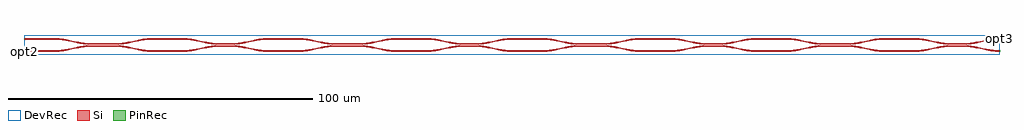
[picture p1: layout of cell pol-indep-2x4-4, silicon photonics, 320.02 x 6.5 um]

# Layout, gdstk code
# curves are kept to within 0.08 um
import gdstk
lib = gdstk.Library(unit=1e-6, precision=1e-09)
def R(c, l, rs):  # rectangles x0, y0, x1, y1
    for r in rs: c.add(gdstk.rectangle(r[:2], r[2:], *l))
def P(c, l, *ps):  # polygons
    for p in ps: c.add(gdstk.Polygon(p, *l))
Si = (1, 0)
PinRec = (1, 10)
DevRec = (68, 0)

layer_0_0_phase_sec_0_1 = lib.new_cell('layer-0_0_phase_sec_0$1')
P(layer_0_0_phase_sec_0_1, Si, [(0,-0.225),(0,0.225),(10,0.225),(10,-0.225)])

layer_0_0_phase_sec_1_1 = lib.new_cell('layer-0_0_phase_sec_1$1')
P(layer_0_0_phase_sec_1_1, Si, [(0,-0.225),(0,0.225),(10,0.225),(10,-0.225)])

dc_arm_up_8_1 = lib.new_cell('dc_arm_up_8$1')
R(dc_arm_up_8_1, Si, [(12,0.1,20,0.55)])
P(dc_arm_up_8_1, Si, [(12,0.1),(10.861,0.137),(9.344,0.292),(2.966,1.532),(1.481,1.712),(0,1.775),(0,2.225),(1.139,2.188),(2.656,2.033),(9.034,0.793),(10.519,0.613),(12,0.55)],
  [(20,0.1),(20,0.55),(21.481,0.613),(22.966,0.793),(29.344,2.033),(30.861,2.188),(32,2.225),(32,1.775),(30.519,1.712),(29.034,1.532),(22.656,0.292),(21.139,0.137)])

dc_arm_down_8_1 = lib.new_cell('dc_arm_down_8$1')
R(dc_arm_down_8_1, Si, [(12,-0.55,20,-0.1)])
P(dc_arm_down_8_1, Si, [(0,-2.225),(0,-1.775),(1.481,-1.712),(2.966,-1.532),(9.344,-0.292),(10.861,-0.137),(12,-0.1),(12,-0.55),(10.519,-0.613),(9.034,-0.793),(2.656,-2.033),(1.139,-2.188)],
  [(32,-2.225),(30.861,-2.188),(29.344,-2.033),(22.966,-0.793),(21.481,-0.613),(20,-0.55),(20,-0.1),(21.139,-0.137),(22.656,-0.292),(29.034,-1.532),(30.519,-1.712),(32,-1.775)])

dc_8_1 = lib.new_cell('dc_8$1')
dc_8_1.add(gdstk.Reference(dc_arm_up_8_1, (0,0)))
dc_8_1.add(gdstk.Reference(dc_arm_down_8_1, (0,0)))

layer_0_0_phase_sec_2_1 = lib.new_cell('layer-0_0_phase_sec_2$1')
P(layer_0_0_phase_sec_2_1, Si, [(0,-0.225),(0,0.225),(10,0.225),(10,-0.225)])

layer_0_0_phase_sec_3_1 = lib.new_cell('layer-0_0_phase_sec_3$1')
P(layer_0_0_phase_sec_3_1, Si, [(6.485,-0.234),(0,-0.225),(0,0.225),(10,0.225),(10,-0.225)])

dc_arm_up_4_1 = lib.new_cell('dc_arm_up_4$1')
R(dc_arm_up_4_1, Si, [(12,0.1,16,0.55)])
P(dc_arm_up_4_1, Si, [(12,0.1),(10.861,0.137),(9.344,0.292),(2.966,1.532),(1.481,1.712),(0,1.775),(0,2.225),(1.139,2.188),(2.656,2.033),(9.034,0.793),(10.519,0.613),(12,0.55)],
  [(16,0.1),(16,0.55),(17.481,0.613),(18.966,0.793),(25.344,2.033),(26.861,2.188),(28,2.225),(28,1.775),(26.519,1.712),(25.034,1.532),(18.656,0.292),(17.139,0.137)])

dc_arm_down_4_1 = lib.new_cell('dc_arm_down_4$1')
R(dc_arm_down_4_1, Si, [(12,-0.55,16,-0.1)])
P(dc_arm_down_4_1, Si, [(0,-2.225),(0,-1.775),(1.481,-1.712),(2.966,-1.532),(9.344,-0.292),(10.861,-0.137),(12,-0.1),(12,-0.55),(10.519,-0.613),(9.034,-0.793),(2.656,-2.033),(1.139,-2.188)],
  [(28,-2.225),(26.861,-2.188),(25.344,-2.033),(18.966,-0.793),(17.481,-0.613),(16,-0.55),(16,-0.1),(17.139,-0.137),(18.656,-0.292),(25.034,-1.532),(26.519,-1.712),(28,-1.775)])

dc_4_1 = lib.new_cell('dc_4$1')
dc_4_1.add(gdstk.Reference(dc_arm_up_4_1, (0,0)))
dc_4_1.add(gdstk.Reference(dc_arm_down_4_1, (0,0)))

layer_1_0_phase_sec_0_1 = lib.new_cell('layer-1_0_phase_sec_0$1')
P(layer_1_0_phase_sec_0_1, Si, [(3.227,-0.232),(0,-0.225),(0,0.225),(10,0.225),(10,-0.225)])

layer_1_0_phase_sec_1_1 = lib.new_cell('layer-1_0_phase_sec_1$1')
P(layer_1_0_phase_sec_1_1, Si, [(4.832,-0.231),(0,-0.225),(0,0.225),(10,0.225),(10,-0.225)])

layer_1_0_phase_sec_2_1 = lib.new_cell('layer-1_0_phase_sec_2$1')
P(layer_1_0_phase_sec_2_1, Si, [(0,-0.225),(0,0.225),(10,0.225),(10,-0.225)])

layer_1_0_phase_sec_3_1 = lib.new_cell('layer-1_0_phase_sec_3$1')
P(layer_1_0_phase_sec_3_1, Si, [(4.859,-0.254),(0,-0.225),(0,0.225),(10,0.225),(10,-0.225)])

layer_2_0_phase_sec_0_1 = lib.new_cell('layer-2_0_phase_sec_0$1')
P(layer_2_0_phase_sec_0_1, Si, [(4.862,-0.241),(0,-0.225),(0,0.225),(10,0.225),(10,-0.225)])

layer_2_0_phase_sec_1_1 = lib.new_cell('layer-2_0_phase_sec_1$1')
P(layer_2_0_phase_sec_1_1, Si, [(0,-0.225),(0,0.225),(10,0.225),(10,-0.225)])

layer_2_0_phase_sec_2_1 = lib.new_cell('layer-2_0_phase_sec_2$1')
P(layer_2_0_phase_sec_2_1, Si, [(0,-0.225),(0,0.225),(10,0.225),(10,-0.225)])

layer_2_0_phase_sec_3_1 = lib.new_cell('layer-2_0_phase_sec_3$1')
P(layer_2_0_phase_sec_3_1, Si, [(4.846,-0.233),(0,-0.225),(0,0.225),(10,0.225),(10,-0.225)])

layer_3_0_phase_sec_0_1 = lib.new_cell('layer-3_0_phase_sec_0$1')
P(layer_3_0_phase_sec_0_1, Si, [(4.869,-0.246),(0,-0.225),(0,0.225),(10,0.225),(10,-0.225)])

layer_3_0_phase_sec_1_1 = lib.new_cell('layer-3_0_phase_sec_1$1')
P(layer_3_0_phase_sec_1_1, Si, [(0,-0.225),(0,0.225),(10,0.225),(10,-0.225)])

layer_3_0_phase_sec_2_1 = lib.new_cell('layer-3_0_phase_sec_2$1')
P(layer_3_0_phase_sec_2_1, Si, [(0,-0.225),(0,0.225),(10,0.225),(10,-0.225)])

layer_3_0_phase_sec_3_1 = lib.new_cell('layer-3_0_phase_sec_3$1')
P(layer_3_0_phase_sec_3_1, Si, [(3.244,-0.24),(0,-0.225),(0,0.225),(10,0.225),(10,-0.225)])

pol_indep_2x4_4 = lib.new_cell('pol-indep-2x4-4')
R(pol_indep_2x4_4, DevRec, [(0,-1,320,5.5)])
pol_indep_2x4_4.add(gdstk.FlexPath([(0.01,0.254),(-0.01,0.254)], 0.45, ends="flush", simple_path=True, layer=1, datatype=10))  # PinRec
pol_indep_2x4_4.add(gdstk.FlexPath([(0.01,4.254),(-0.01,4.254)], 0.45, ends="flush", simple_path=True, layer=1, datatype=10))  # PinRec
pol_indep_2x4_4.add(gdstk.FlexPath([(319.99,4.254),(320.01,4.254)], 0.45, ends="flush", simple_path=True, layer=1, datatype=10))  # PinRec
pol_indep_2x4_4.add(gdstk.FlexPath([(319.99,0.254),(320.01,0.254)], 0.45, ends="flush", simple_path=True, layer=1, datatype=10))  # PinRec
pol_indep_2x4_4.add(gdstk.Reference(layer_0_0_phase_sec_0_1, (0,4.254)))
pol_indep_2x4_4.add(gdstk.Reference(layer_0_0_phase_sec_1_1, (0,0.254)))
pol_indep_2x4_4.add(gdstk.Reference(dc_8_1, (10,2.254)))
pol_indep_2x4_4.add(gdstk.Reference(layer_0_0_phase_sec_2_1, (42,4.254)))
pol_indep_2x4_4.add(gdstk.Reference(layer_0_0_phase_sec_3_1, (42,0.254)))
pol_indep_2x4_4.add(gdstk.Reference(dc_4_1, (52,2.254)))
pol_indep_2x4_4.add(gdstk.Reference(layer_1_0_phase_sec_0_1, (80,4.254)))
pol_indep_2x4_4.add(gdstk.Reference(layer_1_0_phase_sec_1_1, (80,0.254)))
pol_indep_2x4_4.add(gdstk.Reference(dc_8_1, (90,2.254)))
pol_indep_2x4_4.add(gdstk.Reference(layer_1_0_phase_sec_2_1, (122,4.254)))
pol_indep_2x4_4.add(gdstk.Reference(layer_1_0_phase_sec_3_1, (122,0.254)))
pol_indep_2x4_4.add(gdstk.Reference(dc_4_1, (132,2.254)))
pol_indep_2x4_4.add(gdstk.Reference(layer_2_0_phase_sec_0_1, (160,4.254)))
pol_indep_2x4_4.add(gdstk.Reference(layer_2_0_phase_sec_1_1, (160,0.254)))
pol_indep_2x4_4.add(gdstk.Reference(dc_8_1, (170,2.254)))
pol_indep_2x4_4.add(gdstk.Reference(layer_2_0_phase_sec_2_1, (202,4.254)))
pol_indep_2x4_4.add(gdstk.Reference(layer_2_0_phase_sec_3_1, (202,0.254)))
pol_indep_2x4_4.add(gdstk.Reference(dc_4_1, (212,2.254)))
pol_indep_2x4_4.add(gdstk.Reference(layer_3_0_phase_sec_0_1, (240,4.254)))
pol_indep_2x4_4.add(gdstk.Reference(layer_3_0_phase_sec_1_1, (240,0.254)))
pol_indep_2x4_4.add(gdstk.Reference(dc_8_1, (250,2.254)))
pol_indep_2x4_4.add(gdstk.Reference(layer_3_0_phase_sec_2_1, (282,4.254)))
pol_indep_2x4_4.add(gdstk.Reference(layer_3_0_phase_sec_3_1, (282,0.254)))
pol_indep_2x4_4.add(gdstk.Reference(dc_4_1, (292,2.254)))
pol_indep_2x4_4.add(gdstk.Label('opt2', (0,0.254), layer=1, texttype=10))
pol_indep_2x4_4.add(gdstk.Label('opt1', (0,4.254), layer=1, texttype=10))
pol_indep_2x4_4.add(gdstk.Label('opt3', (320,4.254), layer=1, texttype=10))
pol_indep_2x4_4.add(gdstk.Label('opt4', (320,0.254), layer=1, texttype=10))

lib.write_gds('pol-indep-2x4-4.gds')
